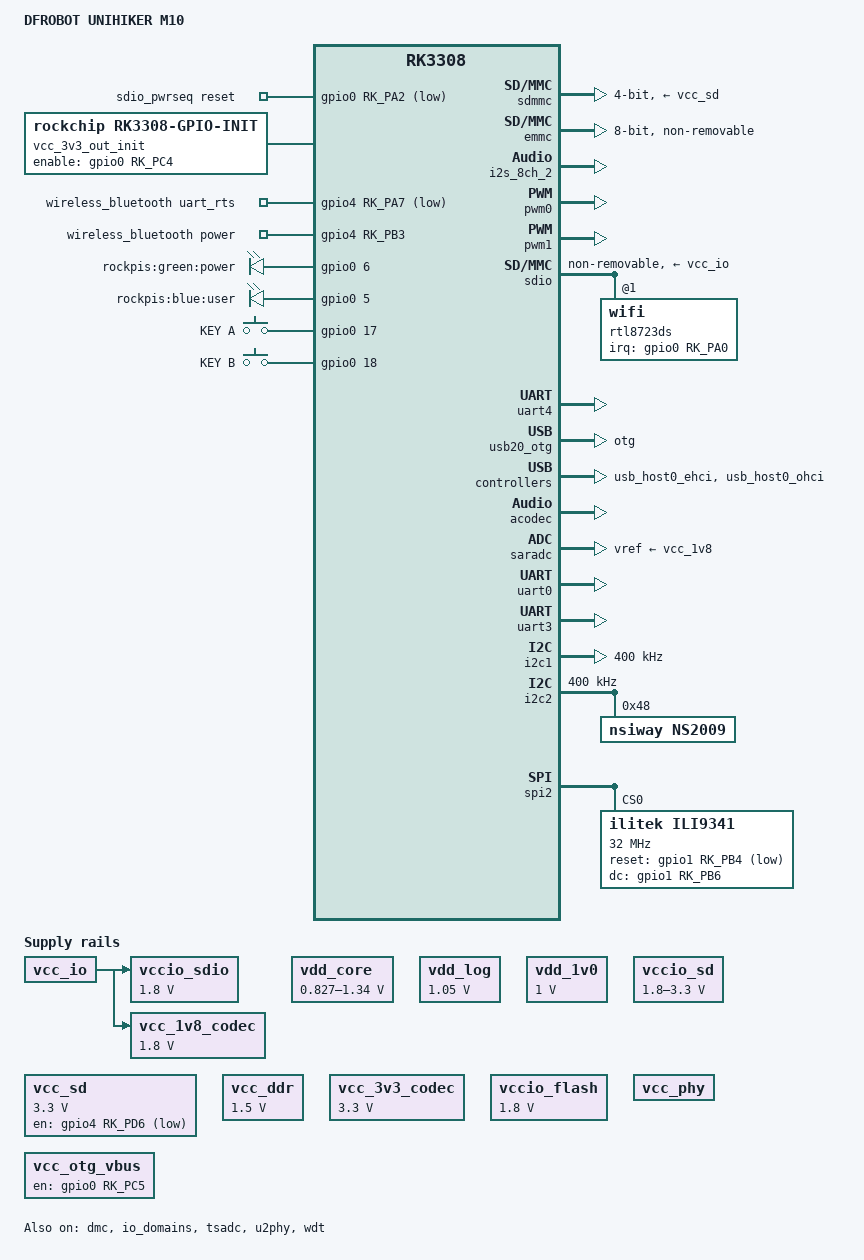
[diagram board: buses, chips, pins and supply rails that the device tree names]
// SPDX-License-Identifier: (GPL-2.0+ OR MIT)
/*
 * Copyright (c) 2018 Fuzhou Rockchip Electronics Co., Ltd
 */

/dts-v1/;

#include <dt-bindings/input/input.h>
/* #include "rk3308.dtsi" */
#include "rk3308k.dtsi"

/ {
	model = "DFROBOT UNIHIKER M10";
	compatible = "DFRobot,UNIHIKER", "rockchip,rk3308";
    aliases {
        mmc0 = &sdmmc;  // 将 SD 卡控制器指定为 mmc0
        mmc1 = &emmc;   // 将 eMMC 控制器指定为 mmc1
    };
	sdio_pwrseq: sdio-pwrseq {
		compatible = "mmc-pwrseq-simple";
		pinctrl-names = "default";
		pinctrl-0 = <&wifi_enable_h>;

		/*
		 * On the module itself this is one of these (depending
		 * on the actual card populated):
		 * - SDIO_RESET_L_WL_REG_ON
		 * - PDN (power down when low)
		 */
		reset-gpios = <&gpio0 RK_PA2 GPIO_ACTIVE_LOW>;
	};

	dummy_codec: dummy-codec {
		compatible = "rockchip,dummy-codec";
		#sound-dai-cells = <0>;
	};

	vdd_core: vdd-core {
		compatible = "pwm-regulator";
		pwms = <&pwm0 0 5000 1>;
		regulator-name = "vdd_core";
		regulator-min-microvolt = <827000>;
		regulator-max-microvolt = <1340000>;
		regulator-init-microvolt = <1015000>;
		regulator-always-on;
		regulator-boot-on;
		regulator-settling-time-up-us = <250>;
		status = "okay";
	};

	vdd_log: vdd-log {
		compatible = "regulator-fixed";
		regulator-name = "vdd_log";
		regulator-always-on;
		regulator-boot-on;
		regulator-min-microvolt = <1050000>;
		regulator-max-microvolt = <1050000>;
	};

	vdd_1v0: vdd-1v0 {
		compatible = "regulator-fixed";
		regulator-name = "vdd_1v0";
		regulator-always-on;
		regulator-boot-on;
		regulator-min-microvolt = <1000000>;
		regulator-max-microvolt = <1000000>;
	};

	vccio_sdio: vcc_1v8: vcc-1v8 {
		compatible = "regulator-fixed";
		regulator-name = "vcc_1v8";
		regulator-always-on;
		regulator-boot-on;
		regulator-min-microvolt = <1800000>;
		regulator-max-microvolt = <1800000>;
		vin-supply = <&vcc_io>;
	};

	vccio_sd: vccio-sd {
		compatible = "regulator-gpio";
		regulator-name = "vccio_sd";
		regulator-min-microvolt = <1800000>;
		regulator-max-microvolt = <3300000>;
		states = <1800000 0x0
			  3300000 0x1>;
	};

	vcc_sd: vcc-sd {
		compatible = "regulator-fixed";
		gpio = <&gpio4 RK_PD6 GPIO_ACTIVE_LOW>;
		regulator-name = "vcc_sd";
		regulator-min-microvolt = <3300000>;
		regulator-max-microvolt = <3300000>;
	};

	vcc_1v8_codec: vcc-1v8-codec {
		compatible = "regulator-fixed";
		regulator-name = "vcc_1v8_codec";
		regulator-always-on;
		regulator-boot-on;
		regulator-min-microvolt = <1800000>;
		regulator-max-microvolt = <1800000>;
		vin-supply = <&vcc_io>;
	};

	vcc_ddr: vcc-ddr {
		compatible = "regulator-fixed";
		regulator-name = "vcc_ddr";
		regulator-always-on;
		regulator-boot-on;
		regulator-min-microvolt = <1500000>;
		regulator-max-microvolt = <1500000>;
	};

	vcc_3v3_codec: vcc_io: vcc-io {
		compatible = "regulator-fixed";
		regulator-name = "vcc_io";
		regulator-always-on;
		regulator-boot-on;
		regulator-min-microvolt = <3300000>;
		regulator-max-microvolt = <3300000>;
	};

	vccio_flash: vccio-flash {
		compatible = "regulator-fixed";
		regulator-name = "vccio_flash";
		regulator-always-on;
		regulator-boot-on;
		regulator-min-microvolt = <1800000>;
		regulator-max-microvolt = <1800000>;
	};

	vcc_phy: vcc-phy-regulator {
		compatible = "regulator-fixed";
		regulator-name = "vcc_phy";
		regulator-always-on;
		regulator-boot-on;
	};

	vcc_otg_vbus: otg-vbus-regulator {
		compatible = "regulator-fixed";
		enable-active-high;
		gpio = <&gpio0 RK_PC5 GPIO_ACTIVE_HIGH>;
		pinctrl-names = "default";
		pinctrl-0 = <&otg_vbus_drv>;
		regulator-name = "vcc_otg_vbus";
	};

	vcc_3v3_out_init: vcc-3v3-out-init {
		compatible = "rockchip,rk3308-gpio-init";
		enable-gpios = <&gpio0 RK_PC4 GPIO_ACTIVE_HIGH>;
		pinctrl-names = "default";
		pinctrl-0 = <&vcc_3v3_out_en>;
		status = "okay";
	};

	wireless_bluetooth: wireless-bluetooth {
		compatible = "bluetooth-platdata";
		uart_rts_gpios = <&gpio4 RK_PA7 GPIO_ACTIVE_LOW>;
		pinctrl-names = "default", "rts_gpio";
		pinctrl-0 = <&uart4_rts>;
		pinctrl-1 = <&uart4_rts_gpio>;
		BT,power_gpio    = <&gpio4 RK_PB3 GPIO_ACTIVE_HIGH>;
		//BT,wake_gpio     = <&gpio4 RK_PB2 GPIO_ACTIVE_HIGH>;
		//BT,wake_host_irq = <&gpio4 RK_PB4 GPIO_ACTIVE_HIGH>;
		status = "okay";
	};

	gpio-leds {
		compatible = "gpio-leds";
		status = "okay";

		green-led {
			label = "rockpis:green:power";
			gpios = <&gpio0 6 GPIO_ACTIVE_HIGH>;
			linux,default-trigger = "default-on";
			default-state = "on";
		};

		blue-led {
			label = "rockpis:blue:user";
			gpios = <&gpio0 5 GPIO_ACTIVE_HIGH>;
			linux,default-trigger = "heartbeat";
			default-state = "on";
		};
	};

	gpio-keys {
		compatible = "gpio-keys";
		status = "okay";
		key_a{
			wakeup-source;
			gpios = <&gpio0 17 IRQ_TYPE_EDGE_RISING>;
			label = "KEY A";
			linux,code = <KEY_A>;
			pinctrl-names = "default";
			pinctrl-0 = <&a_key>;
      
		};
		key_b{
			wakeup-source;
			gpios = <&gpio0 18 IRQ_TYPE_EDGE_RISING>;
			label = "KEY B";
			linux,code = <KEY_B>;
			pinctrl-names = "default";
			pinctrl-0 = <&b_key>;
		};
		/*key_home{
			wakeup-source;
			gpios = <&gpio1 0 IRQ_TYPE_EDGE_RISING>;
			label = "KEY HOME";
			linux,code = <KEY_HOME>;
			pinctrl-names = "default";
			pinctrl-0 = <&home_key>;
		};*/
	};
	acodec_sound: acodec-sound {
		compatible = "rockchip,multicodecs-card";
		rockchip,card-name = "rockchip,rk3308-acodec";
		rockchip,no-hp-det;
		rockchip,mclk-fs = <256>;
		rockchip,cpu = <&i2s_8ch_2>;
		rockchip,codec = <&acodec>;
    };
};

&cpu0 {
	cpu-supply = <&vdd_core>;
};

&dmc {
	center-supply = <&vdd_log>;
	status = "okay";
};
&sdmmc {
	max-frequeency = <150000000>;
	//max-frequeency = <1000000>;
	supports-sd;
	bus-width = <4>;
	cap-mmc-highspeed;
	cap-sd-highspeed;
	disable-wp;
	num-slots = <1>;
	vmmc-supply = <&vcc_sd>;
	vqmmc-supply = <&vccio_sd>;
	pinctrl-names = "default";
	pinctrl-0 = <&sdmmc_clk &sdmmc_cmd &sdmmc_det &sdmmc_bus4>;
	card-detect-delay = <800>;
	status = "okay";
};
&emmc {
	bus-width = <8>;
	no-sdio;
	no-sd;
	cap-mmc-highspeed;
	//mmc-hs200-1_8v;
	supports-emmc;
	disable-wp;
	non-removable;
	//keep-power-in-suspend;
	num-slots = <1>;
	status = "okay";
};


&mac {
	phy-supply = <&vcc_phy>;
	clock_in_out = "output";
	assigned-clocks = <&cru SCLK_MAC>;
	assigned-clock-parents = <&cru SCLK_MAC_SRC>;
	snps,reset-gpio = <&gpio0 RK_PA7 GPIO_ACTIVE_LOW>;
	snps,reset-active-low;
	snps,reset-delays-us = <0 50000 50000>;
	status = "disabled";
};

&io_domains {
	status = "okay";

	vccio0-supply = <&vcc_io>;
	vccio1-supply = <&vcc_io>;
	vccio2-supply = <&vcc_1v8>;
	vccio3-supply = <&vccio_flash>;
	vccio4-supply = <&vccio_sdio>;
	vccio5-supply = <&vcc_io>;
};

&i2s_8ch_2 {
	status = "okay";
	#sound-dai-cells = <0>;
};

&pinctrl {
	pinctrl-names = "default";
	pinctrl-0 = <&rtc_32k>;
	buttons {
		mic_mute: mic-mute {
			rockchip,pins = <0 RK_PC0 RK_FUNC_GPIO &pcfg_pull_up>;
		};
	};
	usb {
		otg_vbus_drv: otg-vbus-drv {
			rockchip,pins = <0 RK_PC5 RK_FUNC_GPIO &pcfg_pull_none>;
		};
	};

	rotary {
		rotary_gpio: rotary-gpio {
			rockchip,pins =
				<2 RK_PB3 RK_FUNC_GPIO &pcfg_pull_none>,
				<2 RK_PB4 RK_FUNC_GPIO &pcfg_pull_none>;
				//<2 RK_PB2 RK_FUNC_GPIO &pcfg_pull_none>;
		};
	};
	vcc-3v3-out {
		vcc_3v3_out_en: vcc-3v3-out-en {
			rockchip,pins = <0 RK_PC4 RK_FUNC_GPIO &pcfg_pull_none>;
		};
	};
	sdio-pwrseq {
		wifi_enable_h: wifi-enable-h {
			rockchip,pins = <0 RK_PA2 RK_FUNC_GPIO &pcfg_pull_none>;
		};
	};

	//wireless-wlan {
	//	wifi_wake_host: wifi-wake-host {
	//		rockchip,pins = <0 RK_PA0 RK_FUNC_GPIO &pcfg_pull_down>;
	//	};
	//};
	a_key: a-key {
        rockchip,pins = <0 RK_PC1 RK_FUNC_GPIO &pcfg_pull_up>;
    };
	b_key: b-key {
        rockchip,pins = <0 RK_PC2 RK_FUNC_GPIO &pcfg_pull_up>;
    };
	/*home_key: home-key {
        rockchip,pins = <1 RK_PA0 RK_FUNC_GPIO &pcfg_pull_up>;
    };*/
	sdio-pwrseq {
		wifi_enable_h: wifi-enable-h {
			rockchip,pins = <0 RK_PA2 RK_FUNC_GPIO &pcfg_pull_none>;
		};

		wifi_host_wake: wifi-host-wake {
			rockchip,pins = <0 RK_PA0 RK_FUNC_GPIO &pcfg_pull_down>;
		};
	};
	wireless-bluetooth {
		uart4_rts_gpio: uart4-rts-gpio{
			rockchip,pins = <4 RK_PA7 RK_FUNC_GPIO &pcfg_pull_none>;
		};
	};
};

&pwm0 {
	status = "okay";
	pinctrl-names = "active";
	pinctrl-0 = <&pwm0_pin_pull_down>;
};

&pwm1 {
	status = "okay";
};

&rockchip_suspend {
	rockchip,pwm-regulator-config = <
		(0
		| RKPM_PWM_REGULATOR
		)
	>;

	status = "okay";
};

&sdio {
	#address-cells = <1>;
	#size-cells = <0>;
	cap-sd-highspeed;
	cap-sdio-irq;
	keep-power-in-suspend;
	max-frequency = <100000000>;
	mmc-pwrseq = <&sdio_pwrseq>;
	no-mmc;
	no-sd;
	non-removable;
	sd-uhs-sdr50;
	vmmc-supply = <&vcc_io>;
	vqmmc-supply = <&vcc_1v8>;
	status = "okay";

	rtl8723ds: wifi@1 {
		reg = <1>;
		interrupt-parent = <&gpio0>;
		interrupts = <RK_PA0 IRQ_TYPE_LEVEL_HIGH>;
		interrupt-names = "host-wake";
		pinctrl-names = "default";
		pinctrl-0 = <&wifi_host_wake>;
	};
};

&tsadc {
	rockchip,hw-tshut-mode = <0>;		/* 0:CRU */
	rockchip,hw-tshut-polarity = <1>;	/* 1:HIGH */
	status = "okay";
};

&u2phy {
	status = "okay";

	u2phy_host: host-port {
		phy-supply = <&vcc_otg_vbus>;
		status = "okay";
	};

	u2phy_otg: otg-port {
		vbus-supply = <&vcc_otg_vbus>;
		status = "disabled";
	};
};

&uart4 {
	pinctrl-names = "default";
	pinctrl-0 = <&uart4_xfer &uart4_cts>;
	status = "okay";
};

&usb20_otg {
	dr_mode = "otg";
	status = "okay";
};

&usb_host0_ehci {
	status = "okay";
};

&usb_host0_ohci{
	status = "okay";
};

&acodec {
  rockchip,micbias1;
  rockchip,en-always-grps = <0>;
  rockchip,adc-grps-route = <0>;
  /delete-property/rockchip,loopback-grp;
  rockchip,no-deep-low-power;
  rockchip,micbias1;
  rockchip,micbias2;
  rockchip,en-always-grps = <2 0 1 3>;
  //rockchip,adc-grps-route = <1>;
  spk-ctl-gpios = <&gpio2 RK_PA7 GPIO_ACTIVE_HIGH>;
  status = "okay";
  gpio-hog {
    gpio-controller;
    gpio-line-names = "spk-ctl";
    gpios = <&gpio2 7 GPIO_ACTIVE_HIGH>;
    output-low;
  };
};

&thermal_zones {
	soc_thermal {
		thermal-sensors = <&tsadc 0>;
	};
};

&wdt {
	status = "okay";
};

&saradc {
	status = "okay";
	vref-supply = <&vcc_1v8>;
};
&uart0 {
	status = "okay";
	pinctrl-names = "default";
	pinctrl-0 = <&uart0_xfer>;
};
&uart1 {
	status = "disabled";
	pinctrl-names = "default";
	pinctrl-0 = <&uart1_xfer>;
};
&uart2 {
	status = "disabled";
};
&uart3 {
	status = "okay";
};

&i2c0 {
	status = "disabled";
};

&i2c1 {
	status = "okay";	
	clock-frequency = <400000>;
};

&i2c2 {
	status = "okay";
	clock-frequency = <400000>;	
	ns2009@48 {
		compatible = "nsiway,ns2009";
		reg = <0x48>;
		touchscreen-size-x = <320>;
		touchscreen-size-y = <240>;
		status = "okay";
	};
};
&spi2{
	status = "okay";
	pinctrl-names = "default";
	pinctrl-0 = <&spi2_clk &spi2_csn0 &spi2_miso &spi2_mosi>;
    ili9341: lcd@0 {
        compatible = "ilitek,ili9341";
        reg = <0>;
		    buswidth = <8>;
        spi-max-frequency = <32000000>;
        reset-gpios = <&gpio1 RK_PB4 GPIO_ACTIVE_LOW>; // 如有复位脚
        dc-gpios = <&gpio1 RK_PB6 GPIO_ACTIVE_HIGH>;   // 如有数据/命令脚
    	  bgr;
	};
};

